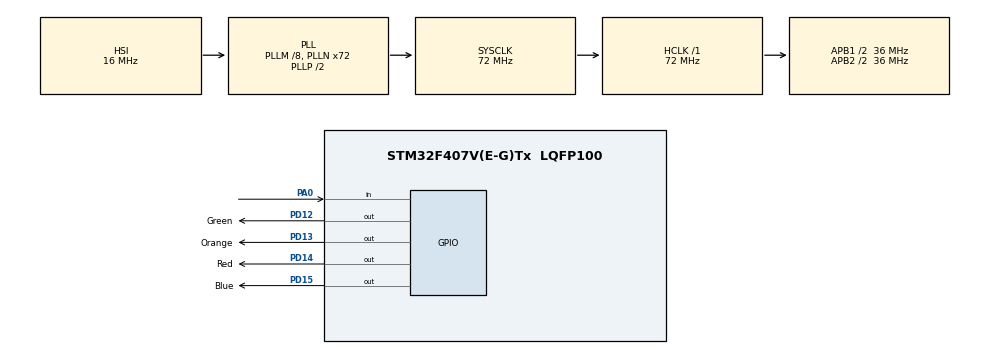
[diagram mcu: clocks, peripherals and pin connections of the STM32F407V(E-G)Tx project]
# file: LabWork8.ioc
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Mcu.Family=STM32F4
Mcu.Name=STM32F407V(E-G)Tx
Mcu.Package=LQFP100
NVIC.PriorityGroup=NVIC_PRIORITYGROUP_0
NVIC.TIM2_IRQn=true\:0\:0\:false\:true\:true\:1\:true\:true\:true
NVIC.TIM3_IRQn=true\:0\:0\:false\:true\:true\:2\:true\:true\:true
PA0-WKUP.Signal=GPIO_Input
PD12.GPIO_Label=Green
PD12.Signal=GPIO_Output
PD13.GPIO_Label=Orange
PD13.Signal=GPIO_Output
PD14.GPIO_Label=Red
PD14.Signal=GPIO_Output
PD15.GPIO_Label=Blue
PD15.Signal=GPIO_Output
ProjectManager.HeapSize=0x200
ProjectManager.StackSize=0x400
ProjectManager.TargetToolchain=STM32CubeIDE
RCC.48MHZClocksFreq_Value=20571428.57142857
RCC.AHBFreq_Value=72000000
RCC.APB1CLKDivider=RCC_HCLK_DIV2
RCC.APB1Freq_Value=36000000
RCC.APB1TimFreq_Value=72000000
RCC.APB2CLKDivider=RCC_HCLK_DIV2
RCC.APB2Freq_Value=36000000
RCC.APB2TimFreq_Value=72000000
RCC.CortexFreq_Value=72000000
RCC.HCLKFreq_Value=72000000
RCC.HSE_VALUE=8000000
RCC.HSI_VALUE=16000000
RCC.PLLM=8
RCC.PLLN=72
RCC.PLLQ=7
RCC.SYSCLKFreq_VALUE=72000000
RCC.SYSCLKSource=RCC_SYSCLKSOURCE_PLLCLK
RCC.VCOOutputFreq_Value=144000000
TIM2.Period=10800
TIM2.Prescaler=10000
TIM3.Period=28800-1
TIM3.Prescaler=10000-1
VP_TIM2_VS_ClockSourceINT.Mode=Internal
VP_TIM3_VS_ClockSourceINT.Mode=Internal
board=STM32F407G-DISC1

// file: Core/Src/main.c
/* USER CODE BEGIN Header */
/**
  ******************************************************************************
  * @file           : main.c
  * @brief          : Main program body
  ******************************************************************************
  * @attention
  *
  * Copyright (c) 2024 STMicroelectronics.
  * All rights reserved.
  *
  * This software is licensed under terms that can be found in the LICENSE file
  * in the root directory of this software component.
  * If no LICENSE file comes with this software, it is provided AS-IS.
  *
  ******************************************************************************
  */
/* USER CODE END Header */
#include "main.h"
#include "stm32f4xx_hal.h"

#define LONG_PRESS_COUNT 2  // 3 seconds or more (2*1.5s since ARR is set for 1.5s intervals)

TIM_HandleTypeDef htim2;
TIM_HandleTypeDef htim3;

/* USER CODE BEGIN PV */
uint32_t buttonPressCounter = 0; // Counts how many times the TIM2 has overflowed while the button is pressed

/* USER CODE END PV */

void SystemClock_Config(void);
static void MX_GPIO_Init(void);
static void MX_TIM2_Init(void);
static void MX_TIM3_Init(void);
static void MX_NVIC_Init(void);

int main(void)
{

  /* MCU Configuration--------------------------------------------------------*/

  /* Reset of all peripherals, Initializes the Flash interface and the Systick. */
  HAL_Init();

  /* Configure the system clock */
  SystemClock_Config();

  /* Initialize all configured peripherals */
  MX_GPIO_Init();
  MX_TIM2_Init();
  MX_TIM3_Init();

  /* Initialize interrupts */
  MX_NVIC_Init();

  /* Infinite loop */
  /* USER CODE BEGIN WHILE */
  while (1)
  {
      if (HAL_GPIO_ReadPin(GPIOA, GPIO_PIN_0) == GPIO_PIN_SET) // Button is pressed
      {
          if (buttonPressCounter == 0) // Start the timer if not already started
          {
              HAL_TIM_Base_Start_IT(&htim2);
          }
      }
      else // Button is released
      {
          if (buttonPressCounter > 0) // Button was previously pressed
          {
              HAL_TIM_Base_Stop_IT(&htim2); // Stop the timer

              if (buttonPressCounter < LONG_PRESS_COUNT) // Short Press
              {
                  HAL_GPIO_WritePin(GPIOD, GPIO_PIN_12, GPIO_PIN_SET); // Green LED
                  HAL_Delay(500); // Display for a brief moment
                  HAL_GPIO_WritePin(GPIOD, GPIO_PIN_12, GPIO_PIN_RESET);
              }
              else // Long Press
              {
                  HAL_GPIO_WritePin(GPIOD, GPIO_PIN_15, GPIO_PIN_SET); // Blue LED
                  HAL_Delay(500); // Display for a brief moment
                  HAL_GPIO_WritePin(GPIOD, GPIO_PIN_15, GPIO_PIN_RESET);
              }
              buttonPressCounter = 0; // Reset the counter for the next press
          }
      }
    /* USER CODE END WHILE */

  }
}

void HAL_TIM_PeriodElapsedCallback(TIM_HandleTypeDef *htim)
{
    if (htim->Instance == TIM2)
    {
        buttonPressCounter++; // Increment the counter on each TIM2 overflow
    }
}

void SystemClock_Config(void)
{
  RCC_OscInitTypeDef RCC_OscInitStruct = {0};
  RCC_ClkInitTypeDef RCC_ClkInitStruct = {0};

  /** Configure the main internal regulator output voltage
  */
  __HAL_RCC_PWR_CLK_ENABLE();
  __HAL_PWR_VOLTAGESCALING_CONFIG(PWR_REGULATOR_VOLTAGE_SCALE1);

  /** Initializes the RCC Oscillators according to the specified parameters
  * in the RCC_OscInitTypeDef structure.
  */
  RCC_OscInitStruct.OscillatorType = RCC_OSCILLATORTYPE_HSI;
  RCC_OscInitStruct.HSIState = RCC_HSI_ON;
  RCC_OscInitStruct.HSICalibrationValue = RCC_HSICALIBRATION_DEFAULT;
  RCC_OscInitStruct.PLL.PLLState = RCC_PLL_ON;
  RCC_OscInitStruct.PLL.PLLSource = RCC_PLLSOURCE_HSI;
  RCC_OscInitStruct.PLL.PLLM = 8;
  RCC_OscInitStruct.PLL.PLLN = 72;
  RCC_OscInitStruct.PLL.PLLP = RCC_PLLP_DIV2;
  RCC_OscInitStruct.PLL.PLLQ = 7;
  if (HAL_RCC_OscConfig(&RCC_OscInitStruct) != HAL_OK)
  {
    Error_Handler();
  }

  /** Initializes the CPU, AHB and APB buses clocks
  */
  RCC_ClkInitStruct.ClockType = RCC_CLOCKTYPE_HCLK|RCC_CLOCKTYPE_SYSCLK
                              |RCC_CLOCKTYPE_PCLK1|RCC_CLOCKTYPE_PCLK2;
  RCC_ClkInitStruct.SYSCLKSource = RCC_SYSCLKSOURCE_PLLCLK;
  RCC_ClkInitStruct.AHBCLKDivider = RCC_SYSCLK_DIV1;
  RCC_ClkInitStruct.APB1CLKDivider = RCC_HCLK_DIV2;
  RCC_ClkInitStruct.APB2CLKDivider = RCC_HCLK_DIV2;

  if (HAL_RCC_ClockConfig(&RCC_ClkInitStruct, FLASH_LATENCY_2) != HAL_OK)
  {
    Error_Handler();
  }
}

/**
  * @brief NVIC Configuration.
  * @retval None
  */
static void MX_NVIC_Init(void)
{
  /* TIM2_IRQn interrupt configuration */
  HAL_NVIC_SetPriority(TIM2_IRQn, 0, 0);
  HAL_NVIC_EnableIRQ(TIM2_IRQn);
  /* TIM3_IRQn interrupt configuration */
  HAL_NVIC_SetPriority(TIM3_IRQn, 0, 0);
  HAL_NVIC_EnableIRQ(TIM3_IRQn);
}

static void MX_TIM2_Init(void)
{

  TIM_ClockConfigTypeDef sClockSourceConfig = {0};
  TIM_MasterConfigTypeDef sMasterConfig = {0};

  htim2.Instance = TIM2;
  htim2.Init.Prescaler = 10000-1;
  htim2.Init.CounterMode = TIM_COUNTERMODE_UP;
  htim2.Init.Period = 10800-1;
  htim2.Init.ClockDivision = TIM_CLOCKDIVISION_DIV1;
  htim2.Init.AutoReloadPreload = TIM_AUTORELOAD_PRELOAD_DISABLE;
  if (HAL_TIM_Base_Init(&htim2) != HAL_OK)
  {
    Error_Handler();
  }
  sClockSourceConfig.ClockSource = TIM_CLOCKSOURCE_INTERNAL;
  if (HAL_TIM_ConfigClockSource(&htim2, &sClockSourceConfig) != HAL_OK)
  {
    Error_Handler();
  }
  sMasterConfig.MasterOutputTrigger = TIM_TRGO_RESET;
  sMasterConfig.MasterSlaveMode = TIM_MASTERSLAVEMODE_DISABLE;
  if (HAL_TIMEx_MasterConfigSynchronization(&htim2, &sMasterConfig) != HAL_OK)
  {
    Error_Handler();
  }

}

static void MX_TIM3_Init(void)
{

  TIM_ClockConfigTypeDef sClockSourceConfig = {0};
  TIM_MasterConfigTypeDef sMasterConfig = {0};

  htim3.Instance = TIM3;
  htim3.Init.Prescaler = 10000-1;
  htim3.Init.CounterMode = TIM_COUNTERMODE_UP;
  htim3.Init.Period = 28800-1;
  htim3.Init.ClockDivision = TIM_CLOCKDIVISION_DIV1;
  htim3.Init.AutoReloadPreload = TIM_AUTORELOAD_PRELOAD_DISABLE;
  if (HAL_TIM_Base_Init(&htim3) != HAL_OK)
  {
    Error_Handler();
  }
  sClockSourceConfig.ClockSource = TIM_CLOCKSOURCE_INTERNAL;
  if (HAL_TIM_ConfigClockSource(&htim3, &sClockSourceConfig) != HAL_OK)
  {
    Error_Handler();
  }
  sMasterConfig.MasterOutputTrigger = TIM_TRGO_RESET;
  sMasterConfig.MasterSlaveMode = TIM_MASTERSLAVEMODE_DISABLE;
  if (HAL_TIMEx_MasterConfigSynchronization(&htim3, &sMasterConfig) != HAL_OK)
  {
    Error_Handler();
  }

}

static void MX_GPIO_Init(void)
{
  GPIO_InitTypeDef GPIO_InitStruct = {0};

  /* GPIO Ports Clock Enable */
  __HAL_RCC_GPIOA_CLK_ENABLE();
  __HAL_RCC_GPIOD_CLK_ENABLE();

  /*Configure GPIO pin Output Level */
  HAL_GPIO_WritePin(GPIOD, Green_Pin|Orange_Pin|Red_Pin|Blue_Pin, GPIO_PIN_RESET);

  /*Configure GPIO pin : PA0 */
  GPIO_InitStruct.Pin = GPIO_PIN_0;
  GPIO_InitStruct.Mode = GPIO_MODE_INPUT;
  GPIO_InitStruct.Pull = GPIO_NOPULL;
  HAL_GPIO_Init(GPIOA, &GPIO_InitStruct);

  /*Configure GPIO pins : Green_Pin Orange_Pin Red_Pin Blue_Pin */
  GPIO_InitStruct.Pin = Green_Pin|Orange_Pin|Red_Pin|Blue_Pin;
  GPIO_InitStruct.Mode = GPIO_MODE_OUTPUT_PP;
  GPIO_InitStruct.Pull = GPIO_NOPULL;
  GPIO_InitStruct.Speed = GPIO_SPEED_FREQ_LOW;
  HAL_GPIO_Init(GPIOD, &GPIO_InitStruct);

}

void Error_Handler(void)
{
  __disable_irq();
  while (1)
  {
  }
}
